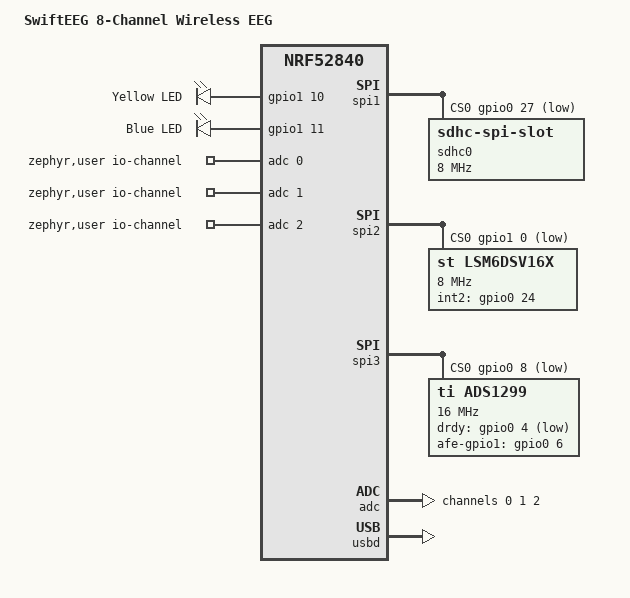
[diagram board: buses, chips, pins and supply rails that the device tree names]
/*
 * SwiftEEG — 8-channel wireless EEG
 * MCU:  Raytac MDBT50Q-1MV2 (nRF52840)
 * AFE:  TI ADS1299IPAGR, SRB1 referential montage
 * IMU:  ST LSM6DSV16XTR
 *
 * Every pin below is taken from the KiCad schematic and cross-checked
 * against the PCB netlist. Do not edit without re-checking the board.
 */

/dts-v1/;
#include <nordic/nrf52840_qiaa.dtsi>
#include "swifteeg-pinctrl.dtsi"
#include <zephyr/dt-bindings/gpio/nordic-nrf-gpio.h>
#include <zephyr/dt-bindings/adc/nrf-saadc.h>

/ {
	model = "SwiftEEG 8-Channel Wireless EEG";
	compatible = "shreyash,swifteeg";

	chosen {
		zephyr,sram = &sram0;
		zephyr,flash = &flash0;
		zephyr,code-partition = &slot0_partition;
		/* No spare UART on this board. RTT is the only log path. */
	};

	leds {
		compatible = "gpio-leds";
		/*
		 * MCU drives the LED anode; cathode returns through 330R to GND.
		 * High drive (H0H1) because standard drive sags under load and
		 * the LEDs are visibly dim on it.
		 *
		 * Headroom is tight by design: at 3.3 V through 330R the yellow
		 * (Vf ~2.0 V) gets ~3.9 mA, but the blue (Vf ~3.0 V) only ~0.9 mA.
		 * Blue stays the dimmer of the two - that is the board, not the
		 * firmware.
		 */
		led_yellow: led_yellow {
			gpios = <&gpio1 10 (GPIO_ACTIVE_HIGH | NRF_GPIO_DRIVE_H0H1)>;
			label = "Yellow LED";
		};
		led_blue: led_blue {
			gpios = <&gpio1 11 (GPIO_ACTIVE_HIGH | NRF_GPIO_DRIVE_H0H1)>;
			label = "Blue LED";
		};
	};

	zephyr,user {
		/* Handles for the three VDD measurement channels above. */
		io-channels = <&adc 0>, <&adc 1>, <&adc 2>;
	};

	aliases {
		led0 = &led_yellow;
		led1 = &led_blue;
		eeg-afe = &ads1299;
		imu = &lsm6dsv16x;
		watchdog0 = &wdt0;
	};
};

&gpiote {
	status = "okay";
};

&gpio0 {
	status = "okay";
};

&gpio1 {
	status = "okay";
};

/* ---- SD card (SPI mode, 1-bit) ---- */
&spi1 {
	compatible = "nordic,nrf-spim";
	status = "okay";
	pinctrl-0 = <&spi1_default>;
	pinctrl-1 = <&spi1_sleep>;
	pinctrl-names = "default", "sleep";
	cs-gpios = <&gpio0 27 GPIO_ACTIVE_LOW>;

	sdhc0: sdhc@0 {
		compatible = "zephyr,sdhc-spi-slot";
		reg = <0>;
		status = "okay";
		spi-max-frequency = <8000000>;
		mmc {
			compatible = "zephyr,sdmmc-disk";
			disk-name = "SD";
			status = "okay";
		};
	};
};

/* ---- LSM6DSV16X IMU ---- */
&spi2 {
	compatible = "nordic,nrf-spim";
	status = "okay";
	pinctrl-0 = <&spi2_default>;
	pinctrl-1 = <&spi2_sleep>;
	pinctrl-names = "default", "sleep";
	cs-gpios = <&gpio1 0 GPIO_ACTIVE_LOW>;

	lsm6dsv16x: lsm6dsv16x@0 {
		compatible = "st,lsm6dsv16x";
		reg = <0>;
		spi-max-frequency = <8000000>;
		/* Only INT2 is routed on this board; INT1 is not connected. */
		int2-gpios = <&gpio0 24 GPIO_ACTIVE_HIGH>;
		status = "okay";
	};
};

/* ---- ADS1299 EEG AFE ----
 * M1 uses the Zephyr SPI API for register access only.
 * M2 takes ownership of SPIM3 via nrfx so DRDY can trigger EasyDMA
 * through PPI with the CPU off the critical path.
 */
&spi3 {
	compatible = "nordic,nrf-spim";
	status = "okay";
	pinctrl-0 = <&spi3_default>;
	pinctrl-1 = <&spi3_sleep>;
	pinctrl-names = "default", "sleep";
	cs-gpios = <&gpio0 8 GPIO_ACTIVE_LOW>;

	ads1299: ads1299@0 {
		compatible = "ti,ads1299";
		reg = <0>;
		spi-max-frequency = <16000000>;	/* ADS1299 SCLK ceiling is 20 MHz */
		drdy-gpios = <&gpio0 4 GPIO_ACTIVE_LOW>;
		afe-gpio1-gpios = <&gpio0 6 GPIO_ACTIVE_HIGH>;
		status = "okay";

		/*
		 * RESET and PWDN are hard pull-ups to DVDD on this board, so
		 * neither can be driven. Reset is by SPI opcode only.
		 * START is unconnected — see the START self-test in src/afe.
		 */
	};
};

/* ---- SAADC ----
 * Channel 0 samples the SoC's own VDD. There is no fuel gauge and VDDH sits
 * on the regulated rail rather than the cell, so this measures the LP5907
 * output, not the battery. It is still the only brownout indication available
 * until a divider jumper is fitted to a free AIN pin.
 *
 * Gain 1/6 against the internal 0.6 V reference gives 3.6 V full scale.
 */
&adc {
	status = "okay";
	#address-cells = <1>;
	#size-cells = <0>;

	/*
	 * Three channels, all sampling the SoC's own VDD, differing only in
	 * gain. This is a deliberate cross-check, not redundancy.
	 *
	 * Full scale is 0.6 V / gain:  1/6 -> 3.6 V, 1/5 -> 3.0 V, 1/4 -> 2.4 V.
	 *
	 * If VDD really is ~2.2 V, all three agree. If VDD is actually ~3.3 V
	 * and the scaling is wrong, the 1/5 and 1/4 channels SATURATE, which
	 * they cannot do if the low reading is genuine. That distinguishes a
	 * real supply problem from a measurement error without a multimeter.
	 */
	channel@0 {
		reg = <0>;
		zephyr,gain = "ADC_GAIN_1_6";
		zephyr,reference = "ADC_REF_INTERNAL";
		zephyr,acquisition-time = <ADC_ACQ_TIME(ADC_ACQ_TIME_MICROSECONDS, 40)>;
		zephyr,input-positive = <NRF_SAADC_VDD>;
		zephyr,resolution = <14>;
	};

	channel@1 {
		reg = <1>;
		zephyr,gain = "ADC_GAIN_1_5";
		zephyr,reference = "ADC_REF_INTERNAL";
		zephyr,acquisition-time = <ADC_ACQ_TIME(ADC_ACQ_TIME_MICROSECONDS, 40)>;
		zephyr,input-positive = <NRF_SAADC_VDD>;
		zephyr,resolution = <14>;
	};

	channel@2 {
		reg = <2>;
		zephyr,gain = "ADC_GAIN_1_4";
		zephyr,reference = "ADC_REF_INTERNAL";
		zephyr,acquisition-time = <ADC_ACQ_TIME(ADC_ACQ_TIME_MICROSECONDS, 40)>;
		zephyr,input-positive = <NRF_SAADC_VDD>;
		zephyr,resolution = <14>;
	};
};

&usbd {
	compatible = "nordic,nrf-usbd";
	status = "okay";

	/*
	 * CDC ACM gives the host a virtual serial port with no driver install
	 * on Windows 10+, macOS or Linux. This is the wired transport for the
	 * binary protocol, and the only path fast enough for 16 kSPS
	 * (~432 kB/s) - BLE cannot carry that.
	 */
	cdc_acm_uart0: cdc_acm_uart0 {
		compatible = "zephyr,cdc-acm-uart";
	};
};

&flash0 {
	partitions {
		compatible = "fixed-partitions";
		#address-cells = <1>;
		#size-cells = <1>;

		/* MCUboot dual-slot. Application must fit in slot0 (0x74000). */
		boot_partition: partition@0 {
			label = "mcuboot";
			reg = <0x00000000 0x0000C000>;
		};
		slot0_partition: partition@c000 {
			label = "image-0";
			reg = <0x0000C000 0x00074000>;
		};
		slot1_partition: partition@80000 {
			label = "image-1";
			reg = <0x00080000 0x00074000>;
		};
		storage_partition: partition@f4000 {
			label = "storage";
			reg = <0x000F4000 0x0000C000>;
		};
	};
};
